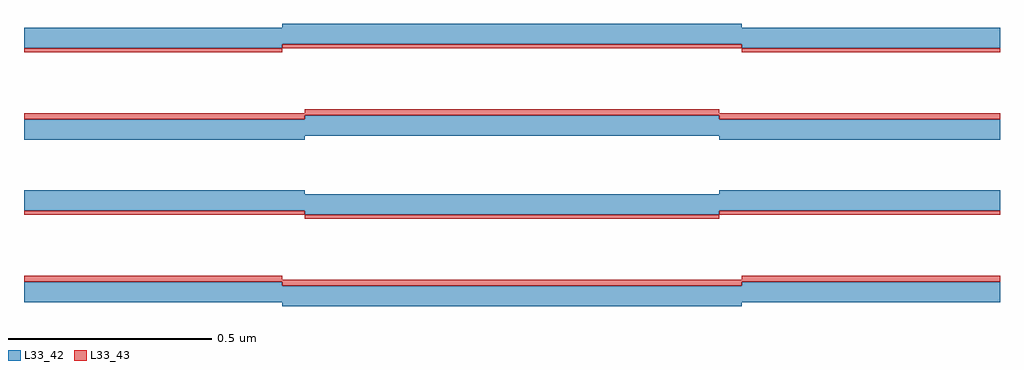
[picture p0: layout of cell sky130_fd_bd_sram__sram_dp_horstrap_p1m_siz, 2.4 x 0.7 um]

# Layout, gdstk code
from math import pi, radians
import gdstk
lib = gdstk.Library(unit=1e-6, precision=1e-09)
def R(c, l, rs):  # rectangles x0, y0, x1, y1
    for r in rs: c.add(gdstk.rectangle(r[:2], r[2:], *l))
def P(c, l, *ps):  # polygons
    for p in ps: c.add(gdstk.Polygon(p, *l))
L33_42 = (33, 42)
L33_43 = (33, 43)

sky130_fd_bd_sram__sram_ = lib.new_cell('sky130_fd_bd_sram__sram_dp_cell_half_poly_siz_optd')
P(sky130_fd_bd_sram__sram_, L33_42, [(0.635,-0.075),(0.635,-0.065),(0,-0.065),(0,-0.015),(0.635,-0.015),(0.635,-0.025),(1.2,-0.025),(1.2,-0.075)])
P(sky130_fd_bd_sram__sram_, L33_43, [(0.635,-0.025),(0.635,-0.015),(0,-0.015),(0,0),(0.635,0),(0.635,-0.01),(1.2,-0.01),(1.2,-0.025)])

c_sky130_fd_bd_sram__sram_ = lib.new_cell('sky130_fd_bd_sram__sram_dp_cell_half_poly_siz_optc')
P(c_sky130_fd_bd_sram__sram_, L33_42, [(0.69,0),(0.69,0.01),(0,0.01),(0,0.06),(0.69,0.06),(0.69,0.05),(1.2,0.05),(1.2,0)])
R(c_sky130_fd_bd_sram__sram_, L33_43, [(0.69,-0.01,1.2,0), (0,0,0.69,0.01)])

c_sky130_fd_bd_sram__sram__ = lib.new_cell('sky130_fd_bd_sram__sram_dp_cell_half_poly_siz_optb')
P(c_sky130_fd_bd_sram__sram__, L33_42, [(0,-0.065),(0,-0.015),(0.69,-0.015),(0.69,-0.005),(1.2,-0.005),(1.2,-0.055),(0.69,-0.055),(0.69,-0.065)])
P(c_sky130_fd_bd_sram__sram__, L33_43, [(0,-0.015),(0,0),(0.69,0),(0.69,0.01),(1.2,0.01),(1.2,-0.005),(0.69,-0.005),(0.69,-0.015)])

c_sky130_fd_bd_sram__sram___ = lib.new_cell('sky130_fd_bd_sram__sram_dp_cell_half_poly_siz_opta')
P(c_sky130_fd_bd_sram__sram___, L33_42, [(0,0.01),(0,0.06),(0.635,0.06),(0.635,0.07),(1.2,0.07),(1.2,0.02),(0.635,0.02),(0.635,0.01)])
R(c_sky130_fd_bd_sram__sram___, L33_43, [(0,0,0.635,0.01), (0.635,0.01,1.2,0.02)])

c_sky130_fd_bd_sram__sram____ = lib.new_cell('sky130_fd_bd_sram__sram_dp_horstrap_p1m_siz')
c_sky130_fd_bd_sram__sram____.add(gdstk.Reference(sky130_fd_bd_sram__sram_, (2.4,0.12), rotation=pi, x_reflection=True))
c_sky130_fd_bd_sram__sram____.add(gdstk.Reference(sky130_fd_bd_sram__sram_, (0,0.12)))
c_sky130_fd_bd_sram__sram____.add(gdstk.Reference(c_sky130_fd_bd_sram__sram_, (2.4,0.27), rotation=pi, x_reflection=True))
c_sky130_fd_bd_sram__sram____.add(gdstk.Reference(c_sky130_fd_bd_sram__sram_, (0,0.27)))
c_sky130_fd_bd_sram__sram____.add(gdstk.Reference(c_sky130_fd_bd_sram__sram__, (2.4,0.52), rotation=pi, x_reflection=True))
c_sky130_fd_bd_sram__sram____.add(gdstk.Reference(c_sky130_fd_bd_sram__sram__, (0,0.52)))
c_sky130_fd_bd_sram__sram____.add(gdstk.Reference(c_sky130_fd_bd_sram__sram___, (2.4,0.67), rotation=pi, x_reflection=True))
c_sky130_fd_bd_sram__sram____.add(gdstk.Reference(c_sky130_fd_bd_sram__sram___, (0,0.67)))

lib.write_gds('sky130_fd_bd_sram__sram_dp_horstrap_p1m_siz.gds')
